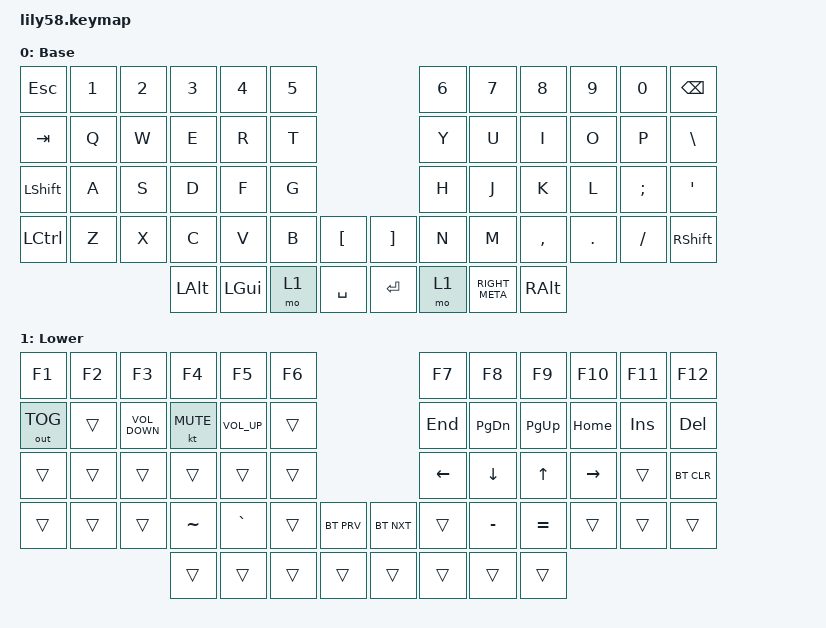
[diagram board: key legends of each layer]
/*
 * Copyright (c) 2020 The ZMK Contributors
 *
 * SPDX-License-Identifier: MIT
 */

#include <behaviors.dtsi>
#include <dt-bindings/zmk/bt.h>
#include <dt-bindings/zmk/keys.h>
#include <dt-bindings/zmk/outputs.h>

/ {
    combos { compatible = "zmk,combos"; };

    keymap {
        compatible = "zmk,keymap";

        default_layer {
            // ------------------------------------------------------------------------------------------------------------
            // |  ESC  |  1  |  2  |  3   |  4   |  5   |                   |  6   |  7    |  8    |  9   |   0   |   `   |
            // |  TAB  |  Q  |  W  |  E   |  R   |  T   |                   |  Y   |  U    |  I    |  O   |   P   |   -   |
            // |  CTRL |  A  |  S  |  D   |  F   |  G   |                   |  H   |  J    |  K    |  L   |   ;   |   '   |
            // | SHIFT |  Z  |  X  |  C   |  V   |  B   |   "["  |  |  "]"  |  N   |  M    |  ,    |  .   |   /   | SHIFT |
            //                     | ALT  | GUI  | LOWER|  SPACE |  | ENTER | RAISE| BSPC  | GUI   |

            label = "Base";
            bindings = <
&kp ESC         &kp N1  &kp N2  &kp N3    &kp N4    &kp N5                         &kp N6  &kp N7          &kp N8         &kp N9   &kp N0    &kp BSPC
&kp TAB         &kp Q   &kp W   &kp E     &kp R     &kp T                          &kp Y   &kp U           &kp I          &kp O    &kp P     &kp BACKSLASH
&kp LEFT_SHIFT  &kp A   &kp S   &kp D     &kp F     &kp G                          &kp H   &kp J           &kp K          &kp L    &kp SEMI  &kp SQT
&kp LCTRL       &kp Z   &kp X   &kp C     &kp V     &kp B   &kp LBKT     &kp RBKT  &kp N   &kp M           &kp COMMA      &kp DOT  &kp FSLH  &kp RSHFT
                                &kp LALT  &kp LGUI  &mo 1   &kp SPACE    &kp RET   &mo 1   &kp RIGHT_META  &kp RIGHT_ALT
            >;
        };

        lower_layer {
            // ------------------------------------------------------------------------------------------------------------
            // | BTCLR | BT1 | BT2 |  BT3 |  BT4 |  BT5 |                   | OUTT |       |       |      |       |       |
            // |  F1   |  F2 |  F3 |  F4  |  F5  |  F6  |                   |  F7  |  F8   |  F9   |  F10 |  F11  |  F12  |
            // |   `   |  !  |  @  |  #   |  $   |  %   |                   |  ^   |  &    |  *    |  (   |   )   |   ~   |
            // |       |     |     |      |      |      |        |  |       |      |  _    |  +    |  {   |   }   |  "|"  |
            //                     |      |      |      |        |  |       |      |       |       |

            label = "Lower";
            bindings = <
&kp F1        &kp F2  &kp F3             &kp F4      &kp F5           &kp F6                            &kp F7    &kp F8         &kp F9       &kp F10    &kp F11     &kp F12
&out OUT_TOG  &trans  &kp C_VOLUME_DOWN  &kt C_MUTE  &kp C_VOLUME_UP  &trans                            &kp END   &kp PAGE_DOWN  &kp PAGE_UP  &kp HOME   &kp INSERT  &kp DELETE
&trans        &trans  &trans             &trans      &trans           &trans                            &kp LEFT  &kp DOWN       &kp UP       &kp RIGHT  &trans      &bt BT_CLR
&trans        &trans  &trans             &kp TILDE   &kp GRAVE        &trans  &bt BT_PRV    &bt BT_NXT  &trans    &kp MINUS      &kp EQUAL    &trans     &trans      &trans
                                         &trans      &trans           &trans  &trans        &trans      &trans    &trans         &trans
            >;
        };

        extra_1 {
            status = "reserved";
        };

        extra_2 {
            status = "reserved";
        };

        extra_3 {
            status = "reserved";
        };
    };
};
